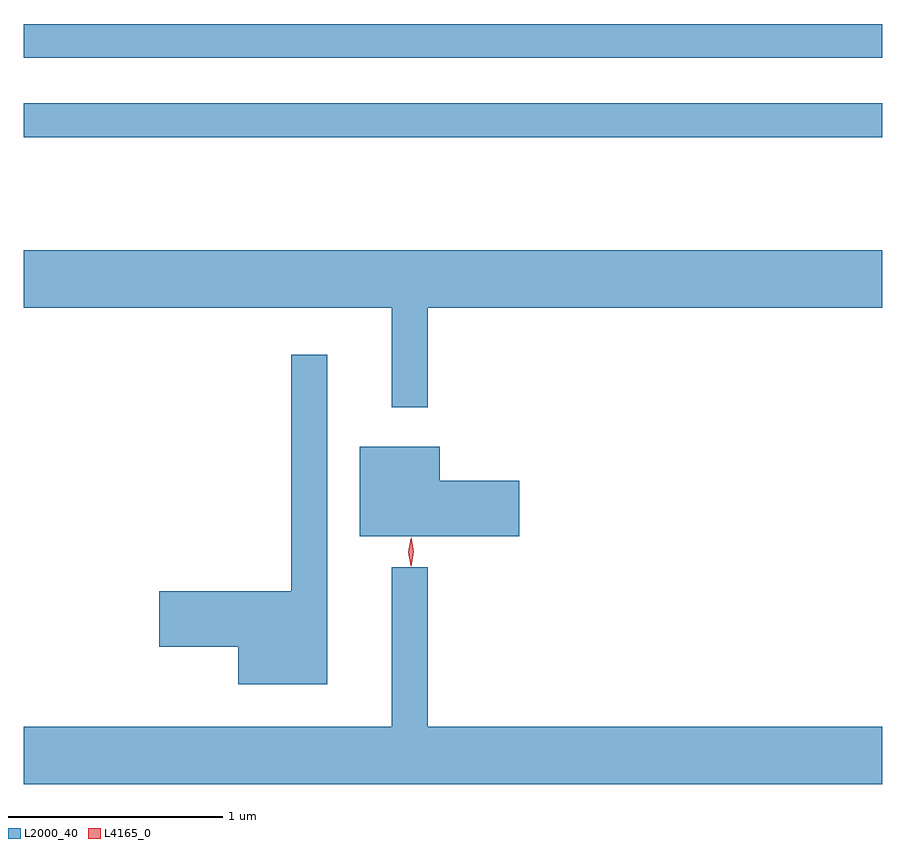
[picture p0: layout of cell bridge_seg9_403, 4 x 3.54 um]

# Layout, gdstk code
import gdstk
lib = gdstk.Library(unit=1e-6, precision=1e-09)
def R(c, l, rs):  # rectangles x0, y0, x1, y1
    for r in rs: c.add(gdstk.rectangle(r[:2], r[2:], *l))
def P(c, l, *ps):  # polygons
    for p in ps: c.add(gdstk.Polygon(p, *l))
L2000_40 = (2000, 40)
L4165_0 = (4165, 0)

bridge_seg9_403 = lib.new_cell('bridge_seg9_403')
R(bridge_seg9_403, L2000_40, [(548.776,2050.331,552.776,2050.489), (548.776,2050.701,552.776,2050.859)])
P(bridge_seg9_403, L2000_40, [(550.659,2049.536),(552.776,2049.536),(552.776,2049.804),(548.776,2049.804),(548.776,2049.536),(550.491,2049.536),(550.491,2049.073),(550.659,2049.073)],
  [(550.189,2049.318),(550.021,2049.318),(550.021,2048.214),(549.406,2048.214),(549.406,2047.956),(549.776,2047.956),(549.776,2047.781),(550.189,2047.781)],
  [(551.084,2048.729),(550.714,2048.729),(550.714,2048.889),(550.341,2048.889),(550.341,2048.471),(551.084,2048.471)],
  [(552.776,2047.584),(550.659,2047.584),(550.659,2048.327),(550.491,2048.327),(550.491,2047.584),(548.776,2047.584),(548.776,2047.316),(552.776,2047.316)])
P(bridge_seg9_403, L4165_0, [(550.578,2048.333),(550.578,2048.334),(550.568,2048.396),(550.578,2048.459),(550.578,2048.46),(550.579,2048.459),(550.588,2048.396),(550.579,2048.334)],
  [(550.581,2048.33),(550.572,2048.398),(550.581,2048.466),(550.582,2048.466),(550.582,2048.466),(550.592,2048.398),(550.582,2048.33),(550.582,2048.33)])

lib.write_gds('bridge_seg9_403.gds')
